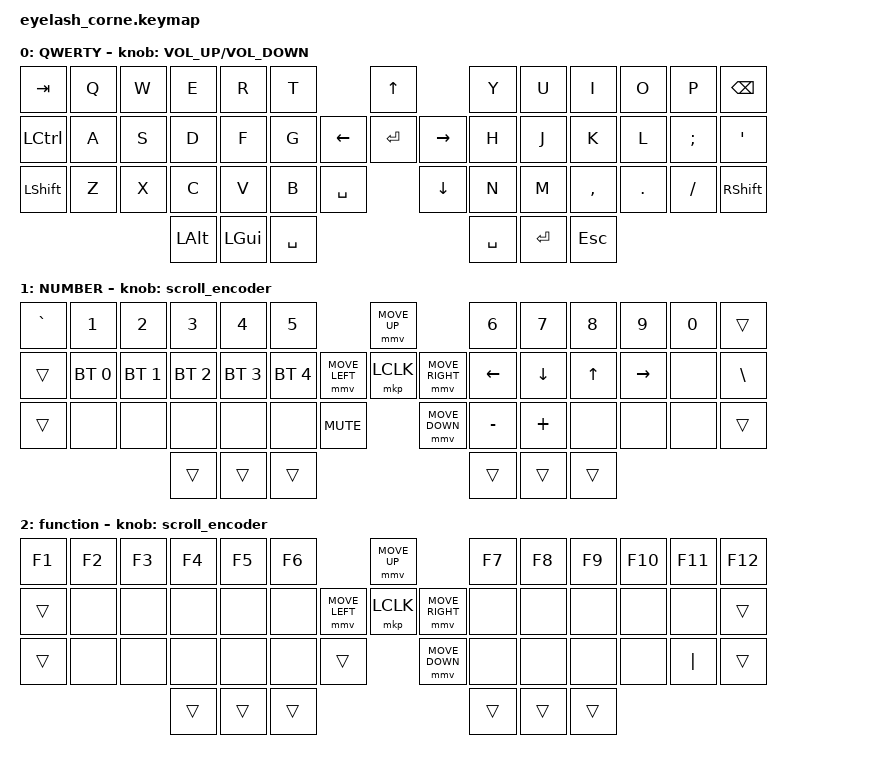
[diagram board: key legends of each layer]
#define ZMK_POINTING_DEFAULT_MOVE_VAL 1200  // 600
#define ZMK_POINTING_DEFAULT_SCRL_VAL 25   // 10

#include <input/processors.dtsi>
#include <zephyr/dt-bindings/input/input-event-codes.h>
#include <behaviors.dtsi>
#include <dt-bindings/zmk/bt.h>
#include <dt-bindings/zmk/keys.h>
#include <dt-bindings/zmk/pointing.h>
#include <dt-bindings/zmk/rgb.h>

&mmv_input_listener { input-processors = <&zip_xy_scaler 2 1>; };

&msc_input_listener { input-processors = <&zip_scroll_scaler 2 1>; };

&msc {
    acceleration-exponent = <1>;      // 0
    time-to-max-speed-ms = <100>;       // 300
    delay-ms = <0>;                   // 0
};

&mmv {
    time-to-max-speed-ms = <500>;
    acceleration-exponent = <1>;
    trigger-period-ms = <16>;
};

&soft_off { hold-time-ms = <2000>; };

/ {
    behaviors {
        td0: td0 {
            compatible = "zmk,behavior-tap-dance";
            display-name = "Shift/Caps Lock Tap Dance";
            #binding-cells = <0>;
            bindings = <&kp LEFT_SHIFT>, <&kp CAPS>;
        };
    };

    rgb_encoder: rgb_encoder {
        compatible = "zmk,behavior-sensor-rotate";
        #sensor-binding-cells = <0>;
        bindings = <&rgb_ug RGB_BRI>, <&rgb_ug RGB_BRD>;
    };

    scroll_encoder: scroll_encoder {
        compatible = "zmk,behavior-sensor-rotate";
        #sensor-binding-cells = <0>;
        bindings = <&msc SCRL_DOWN>, <&msc SCRL_UP>;

        tap-ms = <100>;
    };

    combos {
        compatible = "zmk,combos";

        left_parenthesis {
            bindings = <&kp LEFT_PARENTHESIS>;
            key-positions = <4 5>;
        };

        left_brace {
            bindings = <&kp LEFT_BRACE>;
            key-positions = <17 18>;
        };

        left_bracket {
            bindings = <&kp LEFT_BRACKET>;
            key-positions = <32 33>;
        };

        right_parenthesis {
            bindings = <&kp RIGHT_PARENTHESIS>;
            key-positions = <7 8>;
        };

        right_brace {
            bindings = <&kp RIGHT_BRACE>;
            key-positions = <22 23>;
        };

        right_bracket {
            bindings = <&kp RIGHT_BRACKET>;
            key-positions = <36 37>;
        };
    };

    keymap {
        compatible = "zmk,keymap";

        default_layer {
            display-name = "QWERTY";
            bindings = <
&kp TAB           &kp Q  &kp W  &kp E         &kp R         &kp T                             &kp UP                &kp Y      &kp U      &kp I       &kp O    &kp P     &kp BSPC
&kp LEFT_CONTROL  &kp A  &kp S  &kp D         &kp F         &kp G                   &kp LEFT  &kp ENTER  &kp RIGHT  &kp H      &kp J      &kp K       &kp L    &kp SEMI  &kp SQT
&kp LEFT_SHIFT    &kp Z  &kp X  &kp C         &kp V         &kp B      &kp SPACE              &kp DOWN              &kp N      &kp M      &kp COMMA   &kp DOT  &kp FSLH  &kp RIGHT_SHIFT
                                &kp LEFT_ALT  &kp LEFT_GUI  &kp SPACE                                               &kp SPACE  &kp ENTER  &kp ESCAPE
            >;

            sensor-bindings = <&inc_dec_kp C_VOLUME_UP C_VOLUME_DOWN>;
        };

        lower_layer {
            display-name = "NUMBER";
            bindings = <
&kp GRAVE  &kp N1        &kp N2        &kp N3        &kp N4        &kp N5                                      &mmv MOVE_UP                     &kp N6     &kp N7    &kp N8  &kp N9     &kp N0  &trans
&trans     &bt BT_SEL 0  &bt BT_SEL 1  &bt BT_SEL 2  &bt BT_SEL 3  &bt BT_SEL 4                &mmv MOVE_LEFT  &mkp LCLK       &mmv MOVE_RIGHT  &kp LEFT   &kp DOWN  &kp UP  &kp RIGHT  &none   &kp BACKSLASH
&trans     &none         &none         &none         &none         &none         &kp C_MUTE                    &mmv MOVE_DOWN                   &kp MINUS  &kp PLUS  &none   &none      &none   &trans
                                       &trans        &trans        &trans                                                                       &trans     &trans    &trans
            >;

            sensor-bindings = <&scroll_encoder>;
        };

        function_layer {
            display-name = "function";
            bindings = <
&kp F1  &kp F2  &kp F3  &kp F4  &kp F5  &kp F6                            &mmv MOVE_UP                     &kp F7  &kp F8  &kp F9  &kp F10  &kp F11   &kp F12
&trans  &none   &none   &none   &none   &none             &mmv MOVE_LEFT  &mkp LCLK       &mmv MOVE_RIGHT  &none   &none   &none   &none    &none     &trans
&trans  &none   &none   &none   &none   &none   &trans                    &mmv MOVE_DOWN                   &none   &none   &none   &none    &kp PIPE  &trans
                        &trans  &trans  &trans                                                             &trans  &trans  &trans
            >;

            sensor-bindings = <&scroll_encoder>;
        };
    };
};
